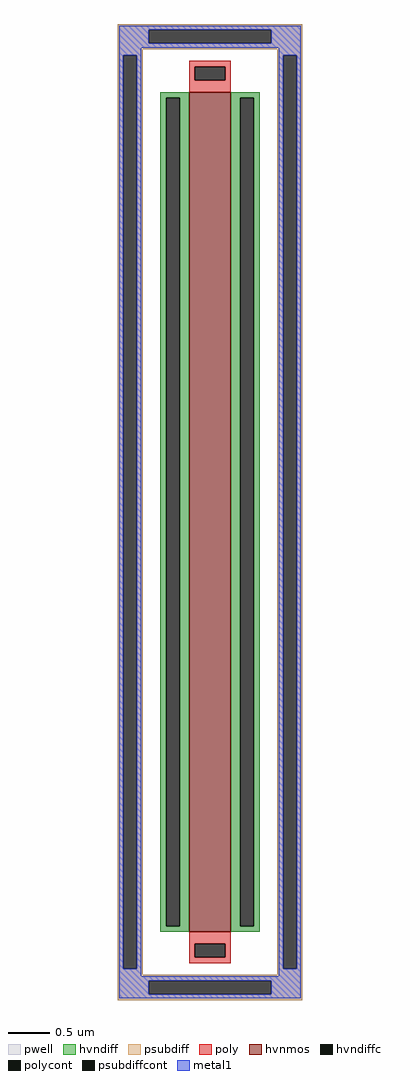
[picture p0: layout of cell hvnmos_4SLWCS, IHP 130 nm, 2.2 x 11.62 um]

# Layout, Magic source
magic
tech ihp-sg13g2
<< pwell >>
rect -59 -500 59 500
<< hvnmos >>
rect -25 -500 25 500
<< hvndiff >>
rect -59 493 -25 500
rect -59 -493 -52 493
rect -36 -493 -25 493
rect -59 -500 -25 -493
rect 25 493 59 500
rect 25 -493 36 493
rect 52 -493 59 493
rect 25 -500 59 -493
<< hvndiffc >>
rect -52 -493 -36 493
rect 36 -493 52 493
<< psubdiff >>
rect -110 574 110 581
rect -110 558 -73 574
rect 73 558 110 574
rect -110 551 110 558
rect -110 544 -80 551
rect -110 -544 -103 544
rect -87 -544 -80 544
rect 80 544 110 551
rect -110 -551 -80 -544
rect 80 -544 87 544
rect 103 -544 110 544
rect 80 -551 110 -544
rect -110 -558 110 -551
rect -110 -574 -73 -558
rect 73 -574 110 -558
rect -110 -581 110 -574
<< psubdiffcont >>
rect -73 558 73 574
rect -103 -544 -87 544
rect 87 -544 103 544
rect -73 -574 73 -558
<< poly >>
rect -25 530 25 537
rect -25 514 -18 530
rect 18 514 25 530
rect -25 500 25 514
rect -25 -514 25 -500
rect -25 -530 -18 -514
rect 18 -530 25 -514
rect -25 -537 25 -530
<< polycont >>
rect -18 514 18 530
rect -18 -530 18 -514
<< metal1 >>
rect -108 574 108 579
rect -108 558 -73 574
rect 73 558 108 574
rect -108 553 108 558
rect -108 544 -82 553
rect -108 -544 -103 544
rect -87 -544 -82 544
rect 82 544 108 553
rect -108 -553 -82 -544
rect 82 -544 87 544
rect 103 -544 108 544
rect 82 -553 108 -544
rect -108 -558 108 -553
rect -108 -574 -73 -558
rect 73 -574 108 -558
rect -108 -579 108 -574
<< properties >>
string gencell hvnmos
string library sg13g2_devstdin
string parameters w 10 l 0.5 nf 1 nx 1 dx 0.21 ny 1 dy 0.18 wmin 0.50 lmin 0.50 class mosfet gcontcov_t 100 gcontcov_b 100 dcontcov_l 100 dcontcov_r 100 guard_distf 1 glc 1 grc 1 gtc 1 gbc 1
<< end >>
